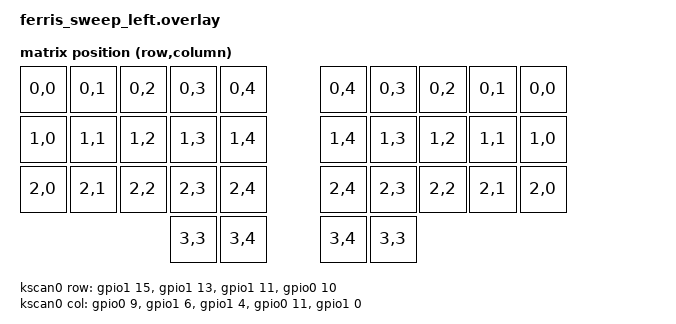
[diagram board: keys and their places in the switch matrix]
/*
 * Copyright (c) 2020 The ZMK Contributors
 *
 * SPDX-License-Identifier: MIT
 */

#include <dt-bindings/zmk/matrix_transform.h>
#include <layouts/cuddlykeyboards/ferris.dtsi>

&cuddlykeyboards_ferris_layout {
    transform = <&default_transform>;
};

/ {
    chosen {
        zmk,kscan = &kscan0;
    };

    default_transform: keymap_transform_0 {
        compatible = "zmk,matrix-transform";
        columns = <5>;
        rows = <4>;
        map = <
        RC(0,0) RC(0,1) RC(0,2) RC(0,3) RC(0,4)    RC(0,4) RC(0,3) RC(0,2) RC(0,1) RC(0,0)
        RC(1,0) RC(1,1) RC(1,2) RC(1,3) RC(1,4)    RC(1,4) RC(1,3) RC(1,2) RC(1,1) RC(1,0)
        RC(2,0) RC(2,1) RC(2,2) RC(2,3) RC(2,4)    RC(2,4) RC(2,3) RC(2,2) RC(2,1) RC(2,0)
                                RC(3,3) RC(3,4)    RC(3,4) RC(3,3)
        >;
    };

    kscan0: kscan {
        compatible = "zmk,kscan-gpio-matrix";
        wakeup-source;
        diode-direction = "row2col";  // Thử đổi sang row2col
        
        row-gpios
            = <&gpio1 15 (GPIO_ACTIVE_HIGH | GPIO_PULL_DOWN)>
            , <&gpio1 13 (GPIO_ACTIVE_HIGH | GPIO_PULL_DOWN)>
            , <&gpio1 11 (GPIO_ACTIVE_HIGH | GPIO_PULL_DOWN)>
            , <&gpio0 10 (GPIO_ACTIVE_HIGH | GPIO_PULL_DOWN)>
            ;
        
        col-gpios
            = <&gpio0  9 GPIO_ACTIVE_HIGH>
            , <&gpio1  6 GPIO_ACTIVE_HIGH>
            , <&gpio1  4 GPIO_ACTIVE_HIGH>
            , <&gpio0 11 GPIO_ACTIVE_HIGH>
            , <&gpio1  0 GPIO_ACTIVE_HIGH>
            ;
    };
};

